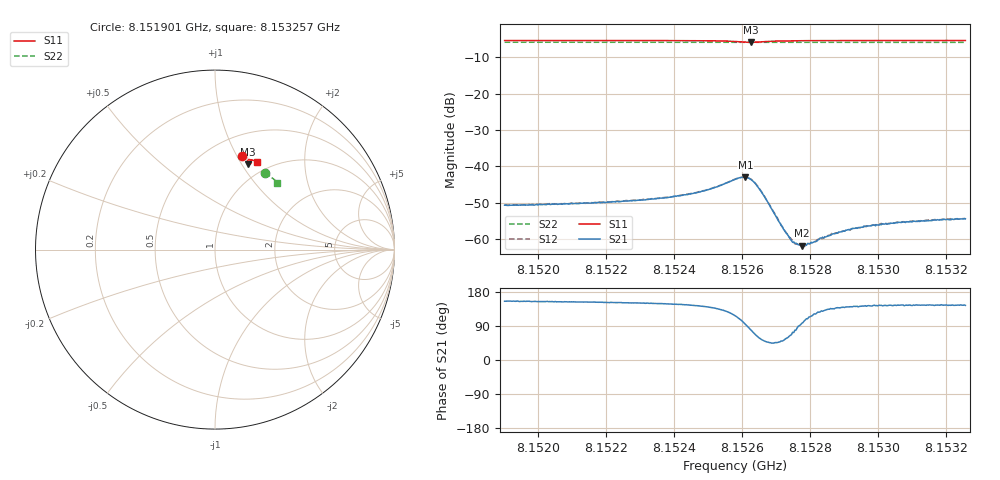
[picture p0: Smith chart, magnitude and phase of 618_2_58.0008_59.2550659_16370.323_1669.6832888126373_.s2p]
#  HZ  S  RI  R  50.00
! Rohde & Schwarz Vector Network Analyzer
! Rohde-Schwarz,ZNB20-2Port,1311601062101988,3.16
! Created: UTC 3/21/2024, 1:18:01 AM
! freq[Hz]  re:S11  im:S11  re:S21  im:S21  re:S12  im:S12  re:S22  im:S22
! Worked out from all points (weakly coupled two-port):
!   401 points, 8.151901 GHz to 8.153257 GHz, reference 50 ohm
!   highest |S21| = -43.02 dB at 8.152609 GHz (marker M1); lowest = -61.9 dB at 8.152776 GHz (marker M2)
!   lowest |S11| = -5.8 dB at 8.152626 GHz (marker M3), VSWR 3.09, Z = 41.5 + j53.4 ohm
!   |S11| at or under -10 dB: nowhere
!   |S22| runs from -5.8 to -5.8 dB; largest |S21 - S12| = 0.00012
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8.151901e9  0.1508 0.5189  -0.00264 0.00123  -0.00262 0.00126  0.2812 0.4279
8.1521281e9  0.1668 0.5141  -0.00276 0.0014  -0.00273 0.00144  0.293 0.4196
8.1523552e9  0.1841 0.5078  -0.00308 0.00185  -0.00308 0.00193  0.3048 0.4107
8.1524399e9  0.1915 0.5041  -0.00334 0.00232  -0.00334 0.00242  0.3091 0.4075
8.1524874e9  0.1961 0.5008  -0.00358 0.00286  -0.00357 0.00295  0.3114 0.4054
8.1525315e9  0.2006 0.4955  -0.00371 0.00383  -0.00369 0.0039  0.3136 0.4036
8.1525789e9  0.2023 0.4839  -0.00303 0.00585  -0.00298 0.00593  0.3157 0.4011
8.1526094e9  0.1936 0.4753  -0.000536 0.00704  -0.000452 0.00709  0.3167 0.3998
8.1526264e9  0.185 0.476  0.00134 0.00638  0.0014 0.00649  0.3172 0.3993
8.15264e9  0.18 0.4808  0.00232 0.0052  0.00241 0.00522  0.3177 0.399
8.1526569e9  0.1783 0.4877  0.0026 0.00357  0.00266 0.00362  0.3186 0.3987
8.1527213e9  0.1883 0.5  0.00085 0.00107  0.000884 0.00107  0.3222 0.3965
8.1527417e9  0.1916 0.5008  0.000416 0.000893  0.000451 0.000934  0.3232 0.3956
8.1527586e9  0.194 0.5011  0.000165 0.000853  0.000127 0.000829  0.3241 0.3949
8.1527756e9  0.196 0.5011  -9.45e-05 0.000798  -9.96e-05 0.000821  0.325 0.3942
8.1527857e9  0.1974 0.5008  -0.000223 0.000804  -0.000188 0.000777  0.3255 0.3938
8.1528061e9  0.1997 0.5007  -0.000396 0.000788  -0.000419 0.000788  0.3265 0.3929
8.1528603e9  0.205 0.4996  -0.000803 0.00078  -0.000788 0.000819  0.3291 0.3907
8.1529281e9  0.2108 0.4981  -0.00109 0.000867  -0.00108 0.000906  0.3325 0.3879
8.1530332e9  0.2187 0.4952  -0.00132 0.000933  -0.00131 0.000958  0.3376 0.3833
8.1531451e9  0.2267 0.4921  -0.00145 0.00101  -0.00146 0.00106  0.3426 0.3785
8.1532569e9  0.2341 0.4888  -0.00153 0.00111  -0.00153 0.00112  0.3479 0.3734
